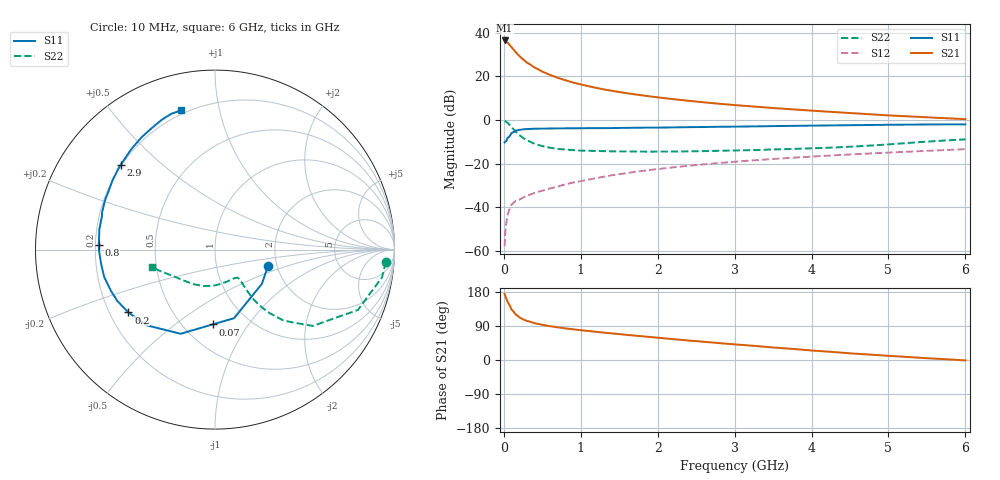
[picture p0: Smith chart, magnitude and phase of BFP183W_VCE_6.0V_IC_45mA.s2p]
! Infineon Technologies  Discrete & RF Semiconductors
! BFP183W
! VCE =  6.0 V,  IC =  45 mA
! Common Emitter S-Parameters:  Jan 2017
# GHz  S  MA  R  50
!  f  S11  S21  S12  S22
! GHz  MAG  ANG  MAG  ANG  MAG  ANG  MAG  ANG
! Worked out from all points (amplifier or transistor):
!   77 points, 10 MHz to 6 GHz, reference 50 ohm
!   highest |S21| = 36.5 dB at 10 MHz (marker M1)
!   |S21| within 3 dB of that: start of sweep to 98.2 MHz
!   unconditionally stable (mu >= 1): 722.6 MHz to 3.316 GHz
!   at 130 MHz: K = 0.38, MSG = 34.9 dB, |S12| = -37.7 dB
!   at 2.2 GHz: K = 1.06, MAG = 14.1 dB, |S12| = -21.6 dB
!   at 6 GHz: K = 0.85, MSG = 6.9 dB, |S12| = -13.3 dB
!   S11 on the Smith chart (normalised r, x): 10 MHz: 1.79, -0.36; 70 MHz: 0.69, -0.69; 200 MHz: 0.28, -0.30; 800 MHz: 0.21, +0.02; 2.9 GHz: 0.20, +0.37; 6 GHz: 0.18, +0.77
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0.01  0.3091 -17.0  66.58 174.5  0.0013 98.1  0.9545 -4.2
0.02  0.3236 -36.1  65.25 168.3  0.0029 93.6  0.9434 -9.4
0.05  0.3965 -74.5  59.38 152.7  0.0068 71.5  0.8645 -22.9
0.07  0.4171 -91.8  53.64 146.0  0.0087 65.4  0.7889 -28.1
0.1  0.5066 -112.2  46.78 133.3  0.0116 60.1  0.6911 -38.0
0.15  0.5677 -132.0  36.64 121.2  0.014 51.3  0.5501 -46.0
0.2  0.596 -144.0  29.46 113.0  0.015 51.9  0.4561 -49.8
0.25  0.6148 -152.2  24.46 107.2  0.0169 50.9  0.3906 -51.6
0.3  0.6233 -158.1  20.78 103.2  0.0185 49.9  0.344 -52.3
0.4  0.6359 -166.1  15.98 97.0  0.0216 55.5  0.2867 -52.0
0.5  0.6384 -171.6  12.89 92.8  0.0242 58.0  0.2542 -51.4
0.6  0.6418 -176.0  10.84 89.2  0.0273 59.1  0.2335 -50.8
0.7  0.6459 -179.3  9.308 86.3  0.03 61.2  0.2197 -50.3
0.8  0.6478 177.6  8.171 83.4  0.0339 62.8  0.2117 -50.4
1.1  0.6542 170.1  5.969 76.6  0.0435 65.2  0.1987 -51.9
1.5  0.662 162.0  4.389 68.3  0.0575 65.9  0.192 -57.3
2.1  0.6772 150.8  3.164 57.0  0.0793 64.3  0.1902 -70.2
2.9  0.7062 138.1  2.288 42.9  0.1077 60.5  0.2002 -91.9
3.1  0.7122 135.2  2.141 39.7  0.1148 59.3  0.2034 -97.3
4.1  0.7507 121.9  1.607 23.7  0.1494 53.0  0.2289 -124.4
5.1  0.7839 111.4  1.256 9.8  0.1837 46.3  0.286 -150.3
6  0.7993 103.6  1.05 -1.0  0.2158 39.9  0.363 -164.1
